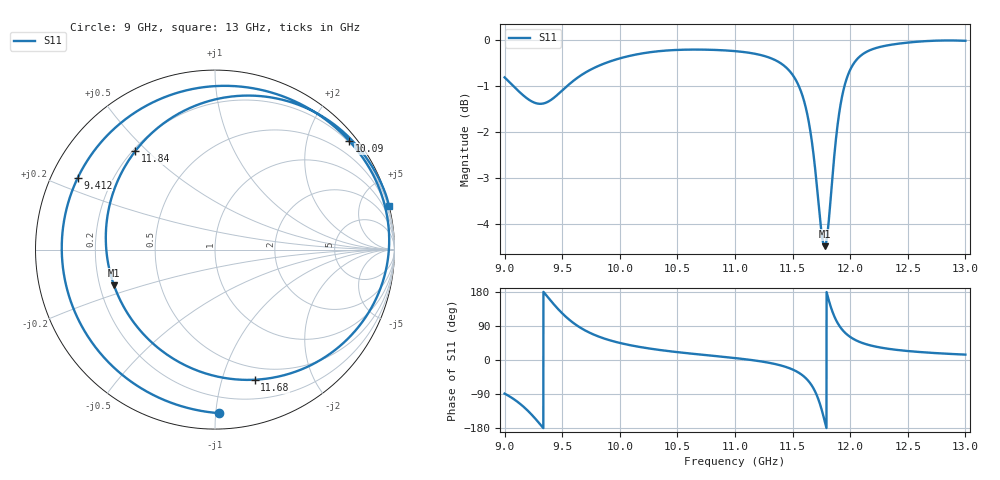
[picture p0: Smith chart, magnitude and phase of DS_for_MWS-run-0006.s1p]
! TOUCHSTONE file generated by CST DESIGN STUDIO
! Date and time: Tue Feb  4 13:58:09 2025
! Project name: C:\Work\MatlabApps\UnitCellOptimizationMatlab\CST\unitcell.cst
! Tree item: Tasks\Sweep1\SPara1\S-Parameters
! Header version: 2024
! Port assignment regex: !\s*Touchstone port\s*([0-9]+)\s*=\s*(CST MWS port|CST DES external port|CST DES block port)\s*(.+)\s* \(\"(.*)\"\)(\s*mode\s*([0-9]+))?.*
! Touchstone port assignment:
! Touchstone port 1 = CST DES external port 1 ("")
# GHz S MA R 50
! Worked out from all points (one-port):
!   4001 points, 9 GHz to 13 GHz, reference 50 ohm
!   lowest |S11| = -4.5 dB at 11.78 GHz (marker M1), VSWR 3.96, Z = 13 - j8.05 ohm
!   |S11| at or under -10 dB: nowhere
!   S11 on the Smith chart (normalised r, x): 9 GHz: 0.09, -1.02; 9.412 GHz: 0.08, +0.24; 10.09 GHz: 0.17, +2.81; 11.68 GHz: 0.38, -1.28; 11.84 GHz: 0.21, +0.46; 13 GHz: 0.03, +8.03
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9  0.9115 -88.6
9.109  0.8836 -109.6
9.199  0.864 -133.1
9.313  0.8531 -171.3
9.412  0.8631 152.3
9.5  0.8821 123.2
9.601  0.9045 96.9
9.734  0.9276 72.6
9.856  0.9428 57.5
10  0.956 45.0
10.09  0.9624 39.1
10.5  0.9766 20.8
11  0.9736 5.1
11.299  0.9578 -7.6
11.5  0.9174 -25.1
11.602  0.8569 -44.4
11.678  0.7578 -73.1
11.73  0.6547 -109.2
11.778  0.5969 -160.5
11.809  0.6267 163.2
11.844  0.7057 129.1
11.873  0.7738 108.0
11.905  0.8343 90.6
12  0.9292 60.8
12.076  0.9588 48.4
12.174  0.9762 38.6
12.5  0.9947 23.7
13  0.9992 14.2
